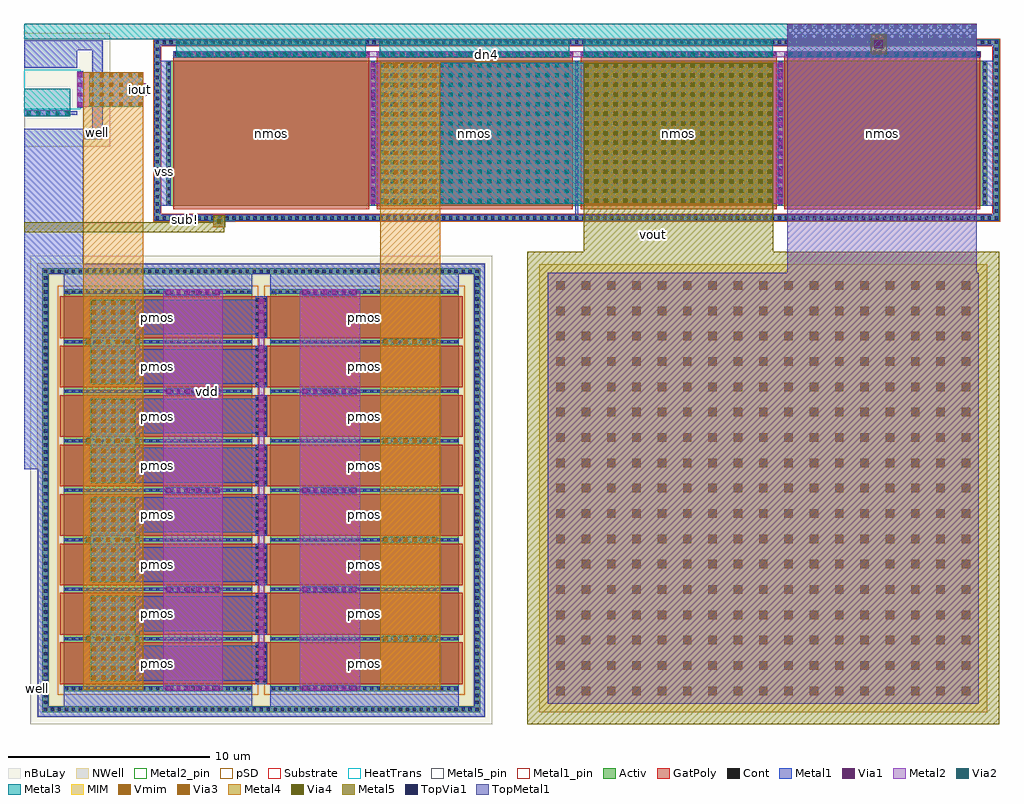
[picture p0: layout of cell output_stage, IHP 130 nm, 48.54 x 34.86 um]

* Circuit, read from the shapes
.subckt output_stage dn4 iout vdd vout vss
XM1 vout dn4 vss vss sg13_lv_nmos w=7.2u l=9.75u m=4
XM2 iout iout vdd vdd sg13_lv_pmos w=9.375u l=2.08u m=8
XM3 vout iout vdd vdd sg13_lv_pmos w=9.375u l=2.08u m=8
XC4 dn4 vout cap_cmim w=22.295u l=22.295u
.ends

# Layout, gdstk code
import gdstk
lib = gdstk.Library(unit=1e-6, precision=1e-09)
def R(c, l, rs):  # rectangles x0, y0, x1, y1
    for r in rs: c.add(gdstk.rectangle(r[:2], r[2:], *l))
def A(c, l, x, y, w, h, nx, ny, dx, dy):  # array of equal rectangles
    R(c, l, [(x+i*dx, y+j*dy, x+i*dx+w, y+j*dy+h) for i in range(nx) for j in range(ny)])
def P(c, l, *ps):  # polygons
    for p in ps: c.add(gdstk.Polygon(p, *l))
Activ = (1, 0)
GatPoly = (5, 0)
Cont = (6, 0)
Metal1 = (8, 0)
Metal1_pin = (8, 2)
Metal2 = (10, 0)
Metal2_pin = (10, 2)
pSD = (14, 0)
Via1 = (19, 0)
Via2 = (29, 0)
Metal3 = (30, 0)
NWell = (31, 0)
nBuLay = (32, 0)
MIM = (36, 0)
Substrate = (40, 0)
Via3 = (49, 0)
Metal4 = (50, 0)
HeatTrans = (51, 0)
Via4 = (66, 0)
Metal5 = (67, 0)
Metal5_pin = (67, 2)
TopVia1 = (125, 0)
TopMetal1 = (126, 0)
Vmim = (129, 0)

output_stage = lib.new_cell('output_stage')
R(output_stage, Activ, [(23.97,-25.82,33.345,-5.84), (34.255,-25.82,43.63,-5.84), (29.08,-1.67,69.9,5.53)])
P(output_stage, Activ, [(22.915,-26.88),(22.915,-5.09),(23.225,-5.09),(23.225,-26.57),(44.375,-26.57),(44.375,-5.09),(22.915,-5.09),(22.915,-4.78),(44.685,-4.78),(44.685,-26.88)],
  [(28.47,-2.44),(28.47,6.3),(28.77,6.3),(28.77,-2.14),(70.21,-2.14),(70.21,6.3),(28.47,6.3),(28.47,6.6),(70.51,6.6),(70.51,-2.44)])
A(output_stage, GatPoly, 23.79, -25.48, 20.02, 2.08, 1, 8, 0, 2.46)
P(output_stage, GatPoly, [(29.42,-1.85),(29.42,6.01),(39.185,6.01),(39.185,5.71),(39.17,5.71),(39.17,-1.85)],
  [(39.55,-1.85),(39.55,6.01),(49.315,6.01),(49.315,5.71),(49.3,5.71),(49.3,-1.85)],
  [(49.68,-1.85),(49.68,6.01),(59.445,6.01),(59.445,5.71),(59.43,5.71),(59.43,-1.85)],
  [(59.81,-1.85),(59.81,6.01),(69.575,6.01),(69.575,5.71),(69.56,5.71),(69.56,-1.85)])
A(output_stage, Cont, 22.99, -26.805, 0.16, 0.16, 3, 2, 0.345, 21.79)
A(output_stage, Cont, 24.03, -26.805, 0.16, 0.16, 4, 2, 0.345, 21.79)
A(output_stage, Cont, 25.415, -26.805, 0.16, 0.16, 5, 2, 0.345, 21.79)
A(output_stage, Cont, 27.145, -26.805, 0.16, 0.16, 4, 2, 0.345, 21.79)
A(output_stage, Cont, 28.53, -26.805, 0.16, 0.16, 4, 2, 0.345, 21.79)
A(output_stage, Cont, 29.915, -26.805, 0.16, 0.16, 5, 2, 0.345, 21.79)
A(output_stage, Cont, 31.645, -26.805, 0.16, 0.16, 4, 2, 0.345, 21.79)
A(output_stage, Cont, 33.03, -26.805, 0.16, 0.16, 5, 2, 0.345, 21.79)
A(output_stage, Cont, 34.76, -26.805, 0.16, 0.16, 4, 2, 0.345, 21.79)
A(output_stage, Cont, 36.145, -26.805, 0.16, 0.16, 5, 2, 0.345, 21.79)
A(output_stage, Cont, 37.875, -26.805, 0.16, 0.16, 4, 2, 0.345, 21.79)
A(output_stage, Cont, 39.26, -26.805, 0.16, 0.16, 4, 2, 0.345, 21.79)
A(output_stage, Cont, 40.645, -26.805, 0.16, 0.16, 5, 2, 0.345, 21.79)
A(output_stage, Cont, 42.375, -26.805, 0.16, 0.16, 4, 2, 0.345, 21.79)
A(output_stage, Cont, 43.76, -26.805, 0.16, 0.16, 3, 2, 0.345, 21.79)
A(output_stage, Cont, 22.99, -25.765, 0.16, 0.16, 1, 6, 0, 0.345)
A(output_stage, Cont, 44.45, -25.765, 0.16, 0.16, 1, 6, 0, 0.345)
A(output_stage, Cont, 24.04, -25.75, 0.16, 0.16, 1, 9, 0, 2.46)
A(output_stage, Cont, 24.385, -25.75, 0.16, 0.16, 5, 9, 0.35, 2.46)
A(output_stage, Cont, 26.13, -25.75, 0.16, 0.16, 5, 9, 0.35, 2.46)
A(output_stage, Cont, 27.875, -25.75, 0.16, 0.16, 5, 9, 0.35, 2.46)
A(output_stage, Cont, 29.62, -25.75, 0.16, 0.16, 5, 9, 0.35, 2.46)
A(output_stage, Cont, 31.365, -25.75, 0.16, 0.16, 6, 9, 0.35, 2.46)
A(output_stage, Cont, 34.325, -25.75, 0.16, 0.16, 1, 9, 0, 2.46)
A(output_stage, Cont, 34.67, -25.75, 0.16, 0.16, 5, 9, 0.35, 2.46)
A(output_stage, Cont, 36.415, -25.75, 0.16, 0.16, 5, 9, 0.35, 2.46)
A(output_stage, Cont, 38.16, -25.75, 0.16, 0.16, 5, 9, 0.35, 2.46)
A(output_stage, Cont, 39.905, -25.75, 0.16, 0.16, 5, 9, 0.35, 2.46)
A(output_stage, Cont, 41.65, -25.75, 0.16, 0.16, 6, 9, 0.35, 2.46)
A(output_stage, Cont, 33.535, -25.37, 0.16, 0.16, 1, 6, 0, 0.34)
A(output_stage, Cont, 33.905, -25.37, 0.16, 0.16, 1, 6, 0, 0.34)
A(output_stage, Cont, 22.99, -23.69, 0.16, 0.16, 1, 6, 0, 0.345)
A(output_stage, Cont, 44.45, -23.69, 0.16, 0.16, 1, 6, 0, 0.345)
A(output_stage, Cont, 33.535, -22.91, 0.16, 0.16, 1, 6, 0, 0.34)
A(output_stage, Cont, 33.905, -22.91, 0.16, 0.16, 1, 6, 0, 0.34)
A(output_stage, Cont, 22.99, -21.615, 0.16, 0.16, 1, 6, 0, 0.345)
A(output_stage, Cont, 44.45, -21.615, 0.16, 0.16, 1, 6, 0, 0.345)
A(output_stage, Cont, 33.535, -20.45, 0.16, 0.16, 1, 6, 0, 0.34)
A(output_stage, Cont, 33.905, -20.45, 0.16, 0.16, 1, 6, 0, 0.34)
A(output_stage, Cont, 22.99, -19.54, 0.16, 0.16, 1, 5, 0, 0.345)
A(output_stage, Cont, 44.45, -19.54, 0.16, 0.16, 1, 5, 0, 0.345)
A(output_stage, Cont, 33.535, -17.99, 0.16, 0.16, 1, 6, 0, 0.34)
A(output_stage, Cont, 33.905, -17.99, 0.16, 0.16, 1, 6, 0, 0.34)
A(output_stage, Cont, 22.99, -17.81, 0.16, 0.16, 1, 6, 0, 0.345)
A(output_stage, Cont, 44.45, -17.81, 0.16, 0.16, 1, 6, 0, 0.345)
A(output_stage, Cont, 22.99, -15.735, 0.16, 0.16, 1, 6, 0, 0.345)
A(output_stage, Cont, 44.45, -15.735, 0.16, 0.16, 1, 6, 0, 0.345)
A(output_stage, Cont, 33.535, -15.53, 0.16, 0.16, 1, 6, 0, 0.34)
A(output_stage, Cont, 33.905, -15.53, 0.16, 0.16, 1, 6, 0, 0.34)
A(output_stage, Cont, 22.99, -13.66, 0.16, 0.16, 1, 5, 0, 0.345)
A(output_stage, Cont, 44.45, -13.66, 0.16, 0.16, 1, 5, 0, 0.345)
A(output_stage, Cont, 33.535, -13.07, 0.16, 0.16, 1, 6, 0, 0.34)
A(output_stage, Cont, 33.905, -13.07, 0.16, 0.16, 1, 6, 0, 0.34)
A(output_stage, Cont, 22.99, -11.93, 0.16, 0.16, 1, 6, 0, 0.345)
A(output_stage, Cont, 44.45, -11.93, 0.16, 0.16, 1, 6, 0, 0.345)
A(output_stage, Cont, 33.535, -10.61, 0.16, 0.16, 1, 6, 0, 0.34)
A(output_stage, Cont, 33.905, -10.61, 0.16, 0.16, 1, 6, 0, 0.34)
A(output_stage, Cont, 22.99, -9.855, 0.16, 0.16, 1, 6, 0, 0.345)
A(output_stage, Cont, 44.45, -9.855, 0.16, 0.16, 1, 6, 0, 0.345)
A(output_stage, Cont, 33.535, -8.15, 0.16, 0.16, 1, 6, 0, 0.34)
A(output_stage, Cont, 33.905, -8.15, 0.16, 0.16, 1, 6, 0, 0.34)
A(output_stage, Cont, 22.99, -7.78, 0.16, 0.16, 1, 6, 0, 0.345)
A(output_stage, Cont, 44.45, -7.78, 0.16, 0.16, 1, 6, 0, 0.345)
A(output_stage, Cont, 28.54, -2.37, 0.16, 0.16, 1, 7, 0, 0.35)
A(output_stage, Cont, 30.625, -2.37, 0.16, 0.16, 3, 2, 0.35, 8.74)
A(output_stage, Cont, 33.06, -2.37, 0.16, 0.16, 3, 2, 0.35, 8.74)
A(output_stage, Cont, 36.19, -2.37, 0.16, 0.16, 3, 2, 0.35, 8.74)
A(output_stage, Cont, 38.625, -2.37, 0.16, 0.16, 3, 2, 0.35, 8.74)
A(output_stage, Cont, 41.06, -2.37, 0.16, 0.16, 3, 2, 0.35, 8.74)
A(output_stage, Cont, 44.19, -2.37, 0.16, 0.16, 3, 2, 0.35, 8.74)
A(output_stage, Cont, 46.625, -2.37, 0.16, 0.16, 3, 2, 0.35, 8.74)
A(output_stage, Cont, 49.06, -2.37, 0.16, 0.16, 3, 2, 0.35, 8.74)
A(output_stage, Cont, 51.495, -2.37, 0.16, 0.16, 3, 2, 0.35, 8.74)
A(output_stage, Cont, 53.93, -2.37, 0.16, 0.16, 3, 2, 0.35, 8.74)
A(output_stage, Cont, 57.06, -2.37, 0.16, 0.16, 3, 2, 0.35, 8.74)
A(output_stage, Cont, 59.495, -2.37, 0.16, 0.16, 3, 2, 0.35, 8.74)
A(output_stage, Cont, 61.93, -2.37, 0.16, 0.16, 3, 2, 0.35, 8.74)
A(output_stage, Cont, 65.06, -2.37, 0.16, 0.16, 3, 2, 0.35, 8.74)
A(output_stage, Cont, 67.495, -2.37, 0.16, 0.16, 3, 2, 0.35, 8.74)
A(output_stage, Cont, 70.28, -2.37, 0.16, 0.16, 1, 7, 0, 0.35)
A(output_stage, Cont, 29.15, -1.6, 0.16, 0.16, 5, 21, 10.13, 0.345)
A(output_stage, Cont, 28.54, 0.075, 0.16, 0.16, 1, 12, 0, 0.35)
A(output_stage, Cont, 70.28, 0.075, 0.16, 0.16, 1, 12, 0, 0.35)
A(output_stage, Cont, 28.54, 4.27, 0.16, 0.16, 1, 7, 0, 0.35)
A(output_stage, Cont, 70.28, 4.27, 0.16, 0.16, 1, 7, 0, 0.35)
A(output_stage, Cont, 29.505, 5.78, 0.16, 0.16, 28, 1, 0.35, 0)
A(output_stage, Cont, 39.635, 5.78, 0.16, 0.16, 28, 1, 0.35, 0)
A(output_stage, Cont, 49.765, 5.78, 0.16, 0.16, 28, 1, 0.35, 0)
A(output_stage, Cont, 59.895, 5.78, 0.16, 0.16, 28, 1, 0.35, 0)
R(output_stage, Cont, [(22.99,-26.46,23.15,-26.3), (44.45,-26.46,44.61,-26.3), (22.99,-26.115,23.15,-25.955), (44.45,-26.115,44.61,-25.955), (22.99,-5.705,23.15,-5.545), (44.45,-5.705,44.61,-5.545), (22.99,-5.36,23.15,-5.2), (44.45,-5.36,44.61,-5.2), (28.89,-2.37,29.05,-2.21), (29.235,-2.37,29.395,-2.21), (29.585,-2.37,29.745,-2.21), (29.93,-2.37,30.09,-2.21), (30.28,-2.37,30.44,-2.21), (31.67,-2.37,31.83,-2.21), (32.02,-2.37,32.18,-2.21), (32.365,-2.37,32.525,-2.21), (32.715,-2.37,32.875,-2.21), (34.105,-2.37,34.265,-2.21), (34.455,-2.37,34.615,-2.21), (34.8,-2.37,34.96,-2.21), (35.15,-2.37,35.31,-2.21), (35.495,-2.37,35.655,-2.21), (35.845,-2.37,36.005,-2.21), (37.235,-2.37,37.395,-2.21), (37.585,-2.37,37.745,-2.21), (37.93,-2.37,38.09,-2.21), (38.28,-2.37,38.44,-2.21), (39.67,-2.37,39.83,-2.21), (40.02,-2.37,40.18,-2.21), (40.365,-2.37,40.525,-2.21), (40.715,-2.37,40.875,-2.21), (42.105,-2.37,42.265,-2.21), (42.455,-2.37,42.615,-2.21), (42.8,-2.37,42.96,-2.21), (43.15,-2.37,43.31,-2.21), (43.495,-2.37,43.655,-2.21), (43.845,-2.37,44.005,-2.21), (45.235,-2.37,45.395,-2.21), (45.585,-2.37,45.745,-2.21), (45.93,-2.37,46.09,-2.21), (46.28,-2.37,46.44,-2.21), (47.67,-2.37,47.83,-2.21), (48.02,-2.37,48.18,-2.21), (48.365,-2.37,48.525,-2.21), (48.715,-2.37,48.875,-2.21), (50.105,-2.37,50.265,-2.21), (50.455,-2.37,50.615,-2.21), (50.8,-2.37,50.96,-2.21), (51.15,-2.37,51.31,-2.21), (52.54,-2.37,52.7,-2.21), (52.89,-2.37,53.05,-2.21), (53.235,-2.37,53.395,-2.21), (53.585,-2.37,53.745,-2.21), (54.975,-2.37,55.135,-2.21), (55.325,-2.37,55.485,-2.21), (55.67,-2.37,55.83,-2.21), (56.02,-2.37,56.18,-2.21), (56.365,-2.37,56.525,-2.21), (56.715,-2.37,56.875,-2.21), (58.105,-2.37,58.265,-2.21), (58.455,-2.37,58.615,-2.21), (58.8,-2.37,58.96,-2.21), (59.15,-2.37,59.31,-2.21), (60.54,-2.37,60.7,-2.21), (60.89,-2.37,61.05,-2.21), (61.235,-2.37,61.395,-2.21), (61.585,-2.37,61.745,-2.21), (62.975,-2.37,63.135,-2.21), (63.325,-2.37,63.485,-2.21), (63.67,-2.37,63.83,-2.21), (64.02,-2.37,64.18,-2.21), (64.365,-2.37,64.525,-2.21), (64.715,-2.37,64.875,-2.21), (66.105,-2.37,66.265,-2.21), (66.455,-2.37,66.615,-2.21), (66.8,-2.37,66.96,-2.21), (67.15,-2.37,67.31,-2.21), (68.54,-2.37,68.7,-2.21), (68.89,-2.37,69.05,-2.21), (69.235,-2.37,69.395,-2.21), (69.585,-2.37,69.745,-2.21), (69.93,-2.37,70.09,-2.21), (28.89,6.37,29.05,6.53), (29.235,6.37,29.395,6.53), (29.585,6.37,29.745,6.53), (29.93,6.37,30.09,6.53), (30.28,6.37,30.44,6.53), (31.67,6.37,31.83,6.53), (32.02,6.37,32.18,6.53), (32.365,6.37,32.525,6.53), (32.715,6.37,32.875,6.53), (34.105,6.37,34.265,6.53), (34.455,6.37,34.615,6.53), (34.8,6.37,34.96,6.53), (35.15,6.37,35.31,6.53), (35.495,6.37,35.655,6.53), (35.845,6.37,36.005,6.53), (37.235,6.37,37.395,6.53), (37.585,6.37,37.745,6.53), (37.93,6.37,38.09,6.53), (38.28,6.37,38.44,6.53), (39.67,6.37,39.83,6.53), (40.02,6.37,40.18,6.53), (40.365,6.37,40.525,6.53), (40.715,6.37,40.875,6.53), (42.105,6.37,42.265,6.53), (42.455,6.37,42.615,6.53), (42.8,6.37,42.96,6.53), (43.15,6.37,43.31,6.53), (43.495,6.37,43.655,6.53), (43.845,6.37,44.005,6.53), (45.235,6.37,45.395,6.53), (45.585,6.37,45.745,6.53), (45.93,6.37,46.09,6.53), (46.28,6.37,46.44,6.53), (47.67,6.37,47.83,6.53), (48.02,6.37,48.18,6.53), (48.365,6.37,48.525,6.53), (48.715,6.37,48.875,6.53), (50.105,6.37,50.265,6.53), (50.455,6.37,50.615,6.53), (50.8,6.37,50.96,6.53), (51.15,6.37,51.31,6.53), (52.54,6.37,52.7,6.53), (52.89,6.37,53.05,6.53), (53.235,6.37,53.395,6.53), (53.585,6.37,53.745,6.53), (54.975,6.37,55.135,6.53), (55.325,6.37,55.485,6.53), (55.67,6.37,55.83,6.53), (56.02,6.37,56.18,6.53), (56.365,6.37,56.525,6.53), (56.715,6.37,56.875,6.53), (58.105,6.37,58.265,6.53), (58.455,6.37,58.615,6.53), (58.8,6.37,58.96,6.53), (59.15,6.37,59.31,6.53), (60.54,6.37,60.7,6.53), (60.89,6.37,61.05,6.53), (61.235,6.37,61.395,6.53), (61.585,6.37,61.745,6.53), (62.975,6.37,63.135,6.53), (63.325,6.37,63.485,6.53), (63.67,6.37,63.83,6.53), (64.02,6.37,64.18,6.53), (64.365,6.37,64.525,6.53), (64.715,6.37,64.875,6.53), (66.105,6.37,66.265,6.53), (66.455,6.37,66.615,6.53), (66.8,6.37,66.96,6.53), (67.15,6.37,67.31,6.53), (68.54,6.37,68.7,6.53), (68.89,6.37,69.05,6.53), (69.235,6.37,69.395,6.53), (69.585,6.37,69.745,6.53), (69.93,6.37,70.09,6.53)])
A(output_stage, Metal1, 29.425, 5.715, 9.74, 0.29, 4, 1, 10.13, 0)
P(output_stage, Metal1, [(39.85,-23.355),(39.85,-23.29),(34.255,-23.29),(34.255,-23.13),(39.85,-23.13),(39.85,-23.065),(42.54,-23.065),(42.54,-23.13),(43.63,-23.13),(43.63,-23.29),(42.54,-23.29),(42.54,-23.355)],
  [(33.53,-25.475),(33.53,-25.305),(25.33,-25.305),(25.33,-23.355),(25.075,-23.355),(25.075,-23.29),(23.97,-23.29),(23.97,-23.13),(25.075,-23.13),(25.075,-23.065),(25.33,-23.065),(25.33,-21.115),(33.53,-21.115),(33.53,-20.945),(34.07,-20.945),(34.07,-23.015),(33.53,-23.015),(33.53,-22.845),(27.765,-22.845),(27.765,-23.13),(33.345,-23.13),(33.345,-23.29),(27.765,-23.29),(27.765,-23.575),(33.53,-23.575),(33.53,-23.405),(34.07,-23.405),(34.07,-25.475)],
  [(29.055,-20.895),(29.055,-20.83),(23.97,-20.83),(23.97,-20.67),(29.055,-20.67),(29.055,-20.605),(31.745,-20.605),(31.745,-20.67),(33.345,-20.67),(33.345,-20.83),(31.745,-20.83),(31.745,-20.895)],
  [(35.85,-20.895),(35.85,-20.83),(34.255,-20.83),(34.255,-20.67),(35.85,-20.67),(35.85,-20.605),(38.54,-20.605),(38.54,-20.67),(43.63,-20.67),(43.63,-20.83),(38.54,-20.83),(38.54,-20.895)],
  [(39.85,-18.435),(39.85,-18.37),(34.255,-18.37),(34.255,-18.21),(39.85,-18.21),(39.85,-18.145),(42.54,-18.145),(42.54,-18.21),(43.63,-18.21),(43.63,-18.37),(42.54,-18.37),(42.54,-18.435)],
  [(33.53,-20.555),(33.53,-20.385),(25.33,-20.385),(25.33,-18.435),(25.075,-18.435),(25.075,-18.37),(23.97,-18.37),(23.97,-18.21),(25.075,-18.21),(25.075,-18.145),(25.33,-18.145),(25.33,-16.19),(29,-16.19),(29,-16.2),(31.8,-16.2),(31.8,-16.19),(33.53,-16.19),(33.53,-16.025),(34.07,-16.025),(34.07,-18.095),(33.53,-18.095),(33.53,-17.92),(27.765,-17.92),(27.765,-18.21),(33.345,-18.21),(33.345,-18.37),(27.765,-18.37),(27.765,-18.655),(33.53,-18.655),(33.53,-18.485),(34.07,-18.485),(34.07,-20.555)],
  [(29.055,-15.975),(29.055,-15.91),(23.97,-15.91),(23.97,-15.75),(29.055,-15.75),(29.055,-15.685),(31.745,-15.685),(31.745,-15.75),(33.345,-15.75),(33.345,-15.91),(31.745,-15.91),(31.745,-15.975)],
  [(35.85,-15.975),(35.85,-15.91),(34.255,-15.91),(34.255,-15.75),(35.85,-15.75),(35.85,-15.685),(38.54,-15.685),(38.54,-15.75),(43.63,-15.75),(43.63,-15.91),(38.54,-15.91),(38.54,-15.975)],
  [(39.85,-13.515),(39.85,-13.45),(34.255,-13.45),(34.255,-13.29),(39.85,-13.29),(39.85,-13.225),(42.54,-13.225),(42.54,-13.29),(43.63,-13.29),(43.63,-13.45),(42.54,-13.45),(42.54,-13.515)],
  [(33.53,-15.635),(33.53,-15.46),(25.33,-15.46),(25.33,-13.515),(25.075,-13.515),(25.075,-13.45),(23.97,-13.45),(23.97,-13.29),(25.075,-13.29),(25.075,-13.225),(25.33,-13.225),(25.33,-11.27),(29,-11.27),(29,-11.28),(31.8,-11.28),(31.8,-11.27),(33.53,-11.27),(33.53,-11.105),(33.7,-11.105),(33.7,-11.085),(33.9,-11.085),(33.9,-11.105),(34.07,-11.105),(34.07,-13.175),(33.53,-13.175),(33.53,-13),(27.765,-13),(27.765,-13.29),(33.345,-13.29),(33.345,-13.45),(27.765,-13.45),(27.765,-13.73),(33.53,-13.73),(33.53,-13.565),(34.07,-13.565),(34.07,-15.635)],
  [(29.055,-11.055),(29.055,-10.99),(23.97,-10.99),(23.97,-10.83),(29.055,-10.83),(29.055,-10.765),(31.745,-10.765),(31.745,-10.83),(33.345,-10.83),(33.345,-10.99),(31.745,-10.99),(31.745,-11.055)],
  [(35.85,-11.055),(35.85,-10.99),(34.255,-10.99),(34.255,-10.83),(35.85,-10.83),(35.85,-10.765),(38.54,-10.765),(38.54,-10.83),(43.63,-10.83),(43.63,-10.99),(38.54,-10.99),(38.54,-11.055)],
  [(39.85,-8.595),(39.85,-8.53),(34.255,-8.53),(34.255,-8.37),(39.85,-8.37),(39.85,-8.305),(42.54,-8.305),(42.54,-8.37),(43.63,-8.37),(43.63,-8.53),(42.54,-8.53),(42.54,-8.595)],
  [(33.53,-10.715),(33.53,-10.545),(25.33,-10.545),(25.33,-8.595),(25.075,-8.595),(25.075,-8.53),(23.97,-8.53),(23.97,-8.37),(25.075,-8.37),(25.075,-8.305),(25.33,-8.305),(25.33,-6.355),(33.53,-6.355),(33.53,-6.185),(34.07,-6.185),(34.07,-8.255),(33.53,-8.255),(33.53,-8.085),(27.765,-8.085),(27.765,-8.37),(33.345,-8.37),(33.345,-8.53),(27.765,-8.53),(27.765,-8.815),(33.53,-8.815),(33.53,-8.645),(33.7,-8.645),(33.7,-8.625),(33.9,-8.625),(33.9,-8.645),(34.07,-8.645),(34.07,-10.715)],
  [(22,2.775),(22,3.065),(24.295,3.065),(24.295,3.01),(24.645,3.01),(24.645,2.85),(24.295,2.85),(24.295,2.775)],
  [(24.65,3.19),(24.65,5),(24.94,5),(24.94,4.96),(24.945,4.96),(24.945,4.94),(24.995,4.94),(24.995,3.32),(24.945,3.32),(24.945,3.23),(24.94,3.23),(24.94,3.19)],
  [(39.28,-1.67),(39.28,-1.575),(39.215,-1.575),(39.215,5.435),(39.28,5.435),(39.28,5.53),(39.44,5.53),(39.44,5.435),(39.505,5.435),(39.505,-1.575),(39.44,-1.575),(39.44,-1.67)],
  [(59.54,-1.67),(59.54,-1.575),(59.475,-1.575),(59.475,5.435),(59.54,5.435),(59.54,5.53),(59.7,5.53),(59.7,5.435),(59.765,5.435),(59.765,-1.575),(59.7,-1.575),(59.7,-1.67)],
  [(22.69,-27.105),(22.69,-14.78),(22,-14.78),(22,-5.065),(43.63,-5.065),(43.63,-6.07),(38.54,-6.07),(38.54,-6.135),(35.85,-6.135),(35.85,-6.07),(34.255,-6.07),(34.255,-5.065),(33.345,-5.065),(33.345,-6.07),(31.745,-6.07),(31.745,-6.135),(29.055,-6.135),(29.055,-6.07),(23.97,-6.07),(23.97,-5.065),(23.2,-5.065),(23.2,-26.595),(23.97,-26.595),(23.97,-25.59),(29.055,-25.59),(29.055,-25.525),(31.745,-25.525),(31.745,-25.59),(33.345,-25.59),(33.345,-26.595),(34.255,-26.595),(34.255,-25.59),(35.85,-25.59),(35.85,-25.525),(38.54,-25.525),(38.54,-25.59),(43.63,-25.59),(43.63,-26.595),(44.4,-26.595),(44.4,-5.065),(22,-5.065),(22,2.145),(25.4,2.145),(25.4,6.045),(24.645,6.045),(24.645,5.18),(22,5.18),(22,6.555),(25.91,6.555),(25.91,1.635),(24.945,1.635),(24.945,-4.555),(44.91,-4.555),(44.91,-27.105)],
  [(31.4,-2.75),(31.4,-2.45),(31.225,-2.45),(31.225,-2.42),(28.49,-2.42),(28.49,6.295),(69.375,6.295),(69.375,6.25),(59.965,6.25),(59.965,6.295),(28.775,6.295),(28.775,5.53),(29.31,5.53),(29.31,-1.67),(28.775,-1.67),(28.775,-2.135),(49.41,-2.135),(49.41,5.53),(49.57,5.53),(49.57,-2.135),(70.205,-2.135),(70.205,-1.67),(69.67,-1.67),(69.67,5.53),(70.205,5.53),(70.205,6.295),(28.49,6.295),(28.49,6.58),(59.965,6.58),(59.965,7.38),(69.375,7.38),(69.375,6.58),(70.49,6.58),(70.49,-2.42),(32.49,-2.42),(32.49,-2.45),(32,-2.45),(32,-2.75)])
R(output_stage, Metal1_pin, [(31.07,-10.96,31.17,-10.86), (28.95,-0.05,29.05,0.05)])
A(output_stage, Metal2, 39.85, -23.355, 2.69, 0.29, 1, 4, 0, 4.92)
R(output_stage, Metal2, [(33.665,-25.29,33.955,-6.33), (31.4,-2.75,32,-2.15), (39.215,-1.575,59.765,5.435), (22,2.775,24.295,3.065), (29.575,5.715,69.375,6.005), (59.965,6.25,69.375,7.38)])
P(output_stage, Metal2, [(25.33,-25.305),(25.33,-23.355),(25.075,-23.355),(25.075,-23.065),(25.33,-23.065),(25.33,-21.115),(27.54,-21.115),(27.54,-23.065),(27.765,-23.065),(27.765,-23.355),(27.54,-23.355),(27.54,-25.305)],
  [(25.33,-20.385),(25.33,-18.435),(25.075,-18.435),(25.075,-18.145),(25.33,-18.145),(25.33,-16.19),(27.54,-16.19),(27.54,-18.145),(27.765,-18.145),(27.765,-18.435),(27.54,-18.435),(27.54,-20.385)],
  [(25.33,-15.46),(25.33,-13.515),(25.075,-13.515),(25.075,-13.225),(25.33,-13.225),(25.33,-11.27),(27.54,-11.27),(27.54,-13.225),(27.765,-13.225),(27.765,-13.515),(27.54,-13.515),(27.54,-15.46)],
  [(25.33,-10.545),(25.33,-8.595),(25.075,-8.595),(25.075,-8.305),(25.33,-8.305),(25.33,-6.355),(27.54,-6.355),(27.54,-8.305),(27.765,-8.305),(27.765,-8.595),(27.54,-8.595),(27.54,-10.545)],
  [(29.055,-25.815),(29.055,-25.75),(28.925,-25.75),(28.925,-5.91),(29.055,-5.91),(29.055,-5.845),(31.745,-5.845),(31.745,-5.91),(31.875,-5.91),(31.875,-25.75),(31.745,-25.75),(31.745,-25.815)],
  [(35.85,-25.815),(35.85,-25.75),(35.72,-25.75),(35.72,-5.91),(35.85,-5.91),(35.85,-5.845),(38.54,-5.845),(38.54,-5.91),(38.715,-5.91),(38.715,-25.75),(38.54,-25.75),(38.54,-25.815)],
  [(24.655,3.23),(24.655,4.96),(27.925,4.96),(27.925,4.4),(28.1,4.4),(28.1,3.8),(27.925,3.8),(27.925,3.23)])
R(output_stage, Metal2_pin, [(27.6,3.9,28,4.3), (44.95,5.81,45.05,5.91)])
R(output_stage, pSD, [(23.67,-26,33.645,-5.66), (33.955,-26,43.93,-5.66)])
P(output_stage, pSD, [(28.44,-2.47),(28.44,6.245),(28.825,6.245),(28.825,-2.085),(70.155,-2.085),(70.155,6.245),(28.44,6.245),(28.44,6.63),(70.54,6.63),(70.54,-2.47)])
A(output_stage, Via1, 29.105, -25.765, 0.19, 0.19, 6, 5, 0.48, 4.92)
A(output_stage, Via1, 35.9, -25.765, 0.19, 0.19, 6, 5, 0.48, 4.92)
A(output_stage, Via1, 25.38, -25.255, 0.19, 0.19, 5, 4, 0.48, 0.48)
A(output_stage, Via1, 33.715, -25.24, 0.19, 0.19, 1, 4, 0, 0.48)
A(output_stage, Via1, 25.125, -23.305, 0.19, 0.19, 6, 4, 0.48, 4.92)
A(output_stage, Via1, 39.9, -23.305, 0.19, 0.19, 6, 4, 0.48, 4.92)
A(output_stage, Via1, 25.38, -22.795, 0.19, 0.19, 5, 4, 0.48, 0.48)
A(output_stage, Via1, 33.715, -22.79, 0.19, 0.19, 1, 4, 0, 0.48)
A(output_stage, Via1, 25.38, -20.335, 0.19, 0.19, 5, 4, 0.48, 0.48)
A(output_stage, Via1, 33.715, -20.32, 0.19, 0.19, 1, 4, 0, 0.48)
A(output_stage, Via1, 25.38, -17.87, 0.19, 0.19, 5, 4, 0.48, 0.48)
A(output_stage, Via1, 33.715, -17.87, 0.19, 0.19, 1, 4, 0, 0.48)
A(output_stage, Via1, 25.38, -15.41, 0.19, 0.19, 5, 4, 0.48, 0.48)
A(output_stage, Via1, 33.715, -15.38, 0.19, 0.19, 1, 4, 0, 0.48)
A(output_stage, Via1, 25.38, -12.95, 0.19, 0.19, 5, 4, 0.48, 0.48)
A(output_stage, Via1, 33.715, -12.93, 0.19, 0.19, 1, 4, 0, 0.48)
A(output_stage, Via1, 25.38, -10.495, 0.19, 0.19, 5, 4, 0.48, 0.48)
A(output_stage, Via1, 33.715, -10.46, 0.19, 0.19, 1, 4, 0, 0.48)
A(output_stage, Via1, 25.38, -8.035, 0.19, 0.19, 5, 4, 0.48, 0.48)
A(output_stage, Via1, 33.715, -8.01, 0.19, 0.19, 1, 4, 0, 0.48)
A(output_stage, Via1, 39.265, -1.525, 0.19, 0.19, 1, 15, 0, 0.48)
A(output_stage, Via1, 59.525, -1.525, 0.19, 0.19, 1, 15, 0, 0.48)
A(output_stage, Via1, 22.135, 2.825, 0.19, 0.19, 5, 1, 0.48, 0)
A(output_stage, Via1, 24.705, 3.28, 0.19, 0.19, 1, 4, 0, 0.48)
A(output_stage, Via1, 29.625, 5.765, 0.19, 0.19, 20, 1, 0.48, 0)
A(output_stage, Via1, 39.755, 5.765, 0.19, 0.19, 20, 1, 0.48, 0)
A(output_stage, Via1, 49.885, 5.765, 0.19, 0.19, 20, 1, 0.48, 0)
A(output_stage, Via1, 60.015, 5.765, 0.19, 0.19, 20, 2, 0.48, 0.895)
A(output_stage, Via1, 60.015, 7.14, 0.19, 0.19, 20, 1, 0.48, 0)
R(output_stage, Via1, [(31.605,-2.545,31.795,-2.355)])
A(output_stage, Via2, 25.38, -25.255, 0.19, 0.19, 5, 4, 0.48, 0.48)
A(output_stage, Via2, 25.125, -23.305, 0.19, 0.19, 6, 4, 0.48, 4.92)
A(output_stage, Via2, 39.9, -23.305, 0.19, 0.19, 6, 4, 0.48, 4.92)
A(output_stage, Via2, 25.38, -22.795, 0.19, 0.19, 5, 4, 0.48, 0.48)
A(output_stage, Via2, 25.38, -20.335, 0.19, 0.19, 5, 4, 0.48, 0.48)
A(output_stage, Via2, 25.38, -17.87, 0.19, 0.19, 5, 4, 0.48, 0.48)
A(output_stage, Via2, 25.38, -15.41, 0.19, 0.19, 5, 4, 0.48, 0.48)
A(output_stage, Via2, 25.38, -12.95, 0.19, 0.19, 5, 4, 0.48, 0.48)
A(output_stage, Via2, 25.38, -10.495, 0.19, 0.19, 5, 4, 0.48, 0.48)
A(output_stage, Via2, 25.38, -8.035, 0.19, 0.19, 5, 4, 0.48, 0.48)
A(output_stage, Via2, 39.77, -1.525, 0.19, 0.19, 20, 15, 0.48, 0.48)
A(output_stage, Via2, 49.9, -1.525, 0.19, 0.19, 20, 15, 0.48, 0.48)
A(output_stage, Via2, 22.135, 2.825, 0.19, 0.19, 5, 1, 0.48, 0)
A(output_stage, Via2, 25.285, 3.28, 0.19, 0.19, 6, 4, 0.48, 0.48)
A(output_stage, Via2, 29.625, 5.765, 0.19, 0.19, 20, 1, 0.48, 0)
A(output_stage, Via2, 39.755, 5.765, 0.19, 0.19, 20, 1, 0.48, 0)
A(output_stage, Via2, 49.885, 5.765, 0.19, 0.19, 20, 1, 0.48, 0)
A(output_stage, Via2, 60.015, 5.765, 0.19, 0.19, 20, 1, 0.48, 0)
R(output_stage, Via2, [(31.605,-2.545,31.795,-2.355)])
A(output_stage, Metal3, 39.85, -23.355, 2.69, 0.29, 1, 4, 0, 4.92)
R(output_stage, Metal3, [(31.4,-2.75,32,-2.15), (22,2.775,24.295,4.135), (25.235,3.23,27.925,4.96)])
P(output_stage, Metal3, [(25.33,-25.305),(25.33,-23.355),(25.075,-23.355),(25.075,-23.065),(25.33,-23.065),(25.33,-21.115),(27.54,-21.115),(27.54,-23.065),(27.765,-23.065),(27.765,-23.355),(27.54,-23.355),(27.54,-25.305)],
  [(25.33,-20.385),(25.33,-18.435),(25.075,-18.435),(25.075,-18.145),(25.33,-18.145),(25.33,-16.19),(27.54,-16.19),(27.54,-18.145),(27.765,-18.145),(27.765,-18.435),(27.54,-18.435),(27.54,-20.385)],
  [(25.33,-15.46),(25.33,-13.515),(25.075,-13.515),(25.075,-13.225),(25.33,-13.225),(25.33,-11.27),(27.54,-11.27),(27.54,-13.225),(27.765,-13.225),(27.765,-13.515),(27.54,-13.515),(27.54,-15.46)],
  [(25.33,-10.545),(25.33,-8.595),(25.075,-8.595),(25.075,-8.305),(25.33,-8.305),(25.33,-6.355),(27.54,-6.355),(27.54,-8.305),(27.765,-8.305),(27.765,-8.595),(27.54,-8.595),(27.54,-10.545)],
  [(39.865,-1.6),(39.865,-1.575),(39.72,-1.575),(39.72,5.435),(59.26,5.435),(59.26,-1.575),(42.555,-1.575),(42.555,-1.6)],
  [(29.575,5.715),(29.575,6.605),(22,6.605),(22,7.38),(69.375,7.38),(69.375,5.715),(59.965,5.715),(59.965,6.605),(59.245,6.605),(59.245,5.715),(49.835,5.715),(49.835,6.605),(49.115,6.605),(49.115,5.715),(39.705,5.715),(39.705,6.605),(38.985,6.605),(38.985,5.715)])
R(output_stage, NWell, [(22.665,-27.13,44.935,-4.53), (23.66,-26.13,33.655,-5.53), (33.945,-26.13,43.94,-5.53)])
R(output_stage, nBuLay, [(22.315,-27.48,45.285,-4.18), (22,1.26,26.285,6.93)])
R(output_stage, MIM, [(47.62,-26.875,69.915,-4.58)])
R(output_stage, Substrate, [(23.97,-6.14,24.27,-5.84), (34.255,-6.14,34.555,-5.84)])
A(output_stage, Via3, 25.38, -25.255, 0.19, 0.19, 5, 4, 0.48, 0.48)
A(output_stage, Via3, 25.125, -23.305, 0.19, 0.19, 6, 4, 0.48, 4.92)
A(output_stage, Via3, 39.9, -23.305, 0.19, 0.19, 6, 4, 0.48, 4.92)
A(output_stage, Via3, 25.38, -22.795, 0.19, 0.19, 5, 4, 0.48, 0.48)
A(output_stage, Via3, 25.38, -20.335, 0.19, 0.19, 5, 4, 0.48, 0.48)
A(output_stage, Via3, 25.38, -17.87, 0.19, 0.19, 5, 4, 0.48, 0.48)
A(output_stage, Via3, 25.38, -15.41, 0.19, 0.19, 5, 4, 0.48, 0.48)
A(output_stage, Via3, 25.38, -12.95, 0.19, 0.19, 5, 4, 0.48, 0.48)
A(output_stage, Via3, 25.38, -10.495, 0.19, 0.19, 5, 4, 0.48, 0.48)
A(output_stage, Via3, 25.38, -8.035, 0.19, 0.19, 5, 4, 0.48, 0.48)
A(output_stage, Via3, 39.915, -1.55, 0.19, 0.19, 6, 15, 0.48, 0.48)
A(output_stage, Via3, 49.88, -1.525, 0.19, 0.19, 20, 15, 0.48, 0.48)
A(output_stage, Via3, 25.285, 3.28, 0.19, 0.19, 6, 4, 0.48, 0.48)
R(output_stage, Via3, [(31.605,-2.545,31.795,-2.355), (64.405,6.255,64.595,6.445)])
R(output_stage, Metal4, [(24.945,-25.75,27.925,4.96), (39.72,-25.75,42.7,5.435), (31.4,-2.75,32,-2.15), (49.83,-1.575,59.24,5.435), (64.1,5.85,64.9,6.85)])
A(output_stage, HeatTrans, 23.79, -25.48, 9.735, 2.08, 1, 8, 0, 2.46)
A(output_stage, HeatTrans, 34.075, -25.48, 9.735, 2.08, 1, 8, 0, 2.46)
A(output_stage, HeatTrans, 29.42, -1.85, 9.75, 7.56, 4, 1, 10.13, 0)
R(output_stage, HeatTrans, [(22,3.12,24.825,5.07)])
A(output_stage, Via4, 49.88, -1.525, 0.19, 0.19, 20, 15, 0.48, 0.48)
R(output_stage, Via4, [(31.605,-2.545,31.795,-2.355), (64.405,6.255,64.595,6.445)])
R(output_stage, Metal5, [(64.1,5.85,64.9,6.85)])
P(output_stage, Metal5, [(22,-3),(22,-2.5),(31.4,-2.5),(31.4,-2.15),(32,-2.15),(32,-2.75),(31.95,-2.75),(31.95,-3)],
  [(47.02,-27.475),(47.02,-3.98),(49.83,-3.98),(49.83,5.435),(59.26,5.435),(59.26,-3.98),(70.515,-3.98),(70.515,-27.475)])
R(output_stage, Metal5_pin, [(53.09,-3.33,53.49,-2.93)])
R(output_stage, TopVia1, [(64.29,6.14,64.71,6.56)])
R(output_stage, TopMetal1, [(48.055,-26.44,69.475,-5.02), (59.965,-5.02,69.375,7.38)])
A(output_stage, Vmim, 48.475, -26.02, 0.42, 0.42, 17, 17, 1.26, 1.26)
output_stage.add(gdstk.FlexPath([(39.405,6.425),(70.335,6.425),(70.335,-2.265),(28.645,-2.265),(28.645,6.425),(39.405,6.425)], 0.36, ends="flush", simple_path=True, layer=40, datatype=0))  # Substrate
output_stage.add(gdstk.Label('well', (25.65,1.965), layer=63, texttype=0))
output_stage.add(gdstk.Label('sub!', (30.035,-2.385), layer=63, texttype=0))
output_stage.add(gdstk.Label('nmos', (34.295,1.93), layer=63, texttype=0))
output_stage.add(gdstk.Label('well', (22.69,-25.7), layer=63, texttype=0))
output_stage.add(gdstk.Label('pmos', (28.658,-24.44), layer=63, texttype=0))
output_stage.add(gdstk.Label('pmos', (38.943,-24.44), layer=63, texttype=0))
output_stage.add(gdstk.Label('nmos', (64.685,1.93), layer=51, texttype=0))
output_stage.add(gdstk.Label('nmos', (54.555,1.93), layer=51, texttype=0))
output_stage.add(gdstk.Label('nmos', (44.425,1.93), layer=51, texttype=0))
output_stage.add(gdstk.Label('nmos', (34.295,1.93), layer=51, texttype=0))
output_stage.add(gdstk.Label('pmos', (28.658,-24.44), layer=51, texttype=0))
output_stage.add(gdstk.Label('pmos', (28.658,-21.98), layer=51, texttype=0))
output_stage.add(gdstk.Label('pmos', (28.658,-19.52), layer=51, texttype=0))
output_stage.add(gdstk.Label('pmos', (28.658,-17.06), layer=51, texttype=0))
output_stage.add(gdstk.Label('pmos', (28.658,-14.6), layer=51, texttype=0))
output_stage.add(gdstk.Label('pmos', (28.658,-12.14), layer=51, texttype=0))
output_stage.add(gdstk.Label('pmos', (28.658,-9.68), layer=51, texttype=0))
output_stage.add(gdstk.Label('pmos', (28.658,-7.22), layer=51, texttype=0))
output_stage.add(gdstk.Label('pmos', (38.943,-24.44), layer=51, texttype=0))
output_stage.add(gdstk.Label('pmos', (38.943,-21.98), layer=51, texttype=0))
output_stage.add(gdstk.Label('pmos', (38.943,-19.52), layer=51, texttype=0))
output_stage.add(gdstk.Label('pmos', (38.943,-17.06), layer=51, texttype=0))
output_stage.add(gdstk.Label('pmos', (38.943,-14.6), layer=51, texttype=0))
output_stage.add(gdstk.Label('pmos', (38.943,-12.14), layer=51, texttype=0))
output_stage.add(gdstk.Label('pmos', (38.943,-9.68), layer=51, texttype=0))
output_stage.add(gdstk.Label('pmos', (38.943,-7.22), layer=51, texttype=0))
output_stage.add(gdstk.Label('vdd', (31.12,-10.91), layer=8, texttype=25))
output_stage.add(gdstk.Label('vss', (29,0), layer=8, texttype=25))
output_stage.add(gdstk.Label('dn4', (45,5.86), layer=10, texttype=25))
output_stage.add(gdstk.Label('iout', (27.8,4.1), layer=10, texttype=25))
output_stage.add(gdstk.Label('vout', (53.29,-3.13), layer=67, texttype=25))

lib.write_gds('output_stage.gds')
